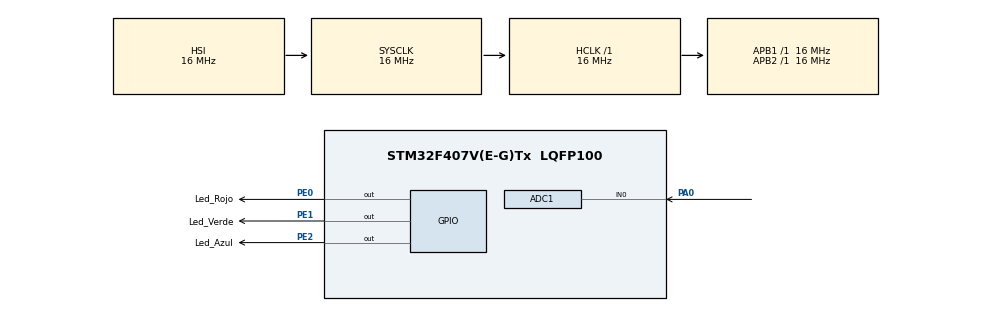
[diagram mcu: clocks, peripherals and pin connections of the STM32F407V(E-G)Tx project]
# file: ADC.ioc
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ADC1.Channel-0\#ChannelRegularConversion=ADC_CHANNEL_0
ADC1.ClockPrescaler=ADC_CLOCK_SYNC_PCLK_DIV2
ADC1.ContinuousConvMode=ENABLE
ADC1.DMAContinuousRequests=DISABLE
ADC1.DataAlign=ADC_DATAALIGN_RIGHT
ADC1.DiscontinuousConvMode=DISABLE
ADC1.EOCSelection=ADC_EOC_SINGLE_CONV
ADC1.EnableAnalogWatchDog=false
ADC1.ExternalTrigConv=ADC_SOFTWARE_START
ADC1.ExternalTrigConvEdge=ADC_EXTERNALTRIGCONVEDGE_NONE
ADC1.InjNumberOfConversion=0
ADC1.NbrOfConversion=1
ADC1.NbrOfConversionFlag=1
ADC1.Rank-0\#ChannelRegularConversion=1
ADC1.Resolution=ADC_RESOLUTION_12B
ADC1.SamplingTime-0\#ChannelRegularConversion=ADC_SAMPLETIME_3CYCLES
ADC1.ScanConvMode=DISABLE
ADC1.master=1
Mcu.Family=STM32F4
Mcu.Name=STM32F407V(E-G)Tx
Mcu.Package=LQFP100
NVIC.PriorityGroup=NVIC_PRIORITYGROUP_4
PA0-WKUP.Signal=ADCx_IN0
PE0.GPIO_Label=Led_Rojo
PE0.PinState=GPIO_PIN_SET
PE0.Signal=GPIO_Output
PE1.GPIO_Label=Led_Verde
PE1.PinState=GPIO_PIN_SET
PE1.Signal=GPIO_Output
PE2.GPIO_Label=Led_Azul
PE2.PinState=GPIO_PIN_SET
PE2.Signal=GPIO_Output
ProjectManager.HeapSize=0x200
ProjectManager.StackSize=0x400
ProjectManager.TargetToolchain=TrueSTUDIO
RCC.AHBFreq_Value=16000000
RCC.APB1Freq_Value=16000000
RCC.APB2Freq_Value=16000000
RCC.CortexFreq_Value=16000000
RCC.HSE_VALUE=25000000
RCC.HSI_VALUE=16000000
RCC.LSE_VALUE=32768
RCC.SYSCLKFreq_VALUE=16000000
RCC.VCOOutputFreq_Value=192000000
SH.ADCx_IN0.0=ADC1_IN0,IN0
board=ADC

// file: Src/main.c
/**
  ******************************************************************************
  * File Name          : main.c
  * Description        : Main program body
  ******************************************************************************
  ** This notice applies to any and all portions of this file
  * that are not between comment pairs USER CODE BEGIN and
  * USER CODE END. Other portions of this file, whether
  * inserted by the user or by software development tools
  * are owned by their respective copyright owners.
  *
  * COPYRIGHT(c) 2017 STMicroelectronics
  *
  * Redistribution and use in source and binary forms, with or without modification,
  * are permitted provided that the following conditions are met:
  *   1. Redistributions of source code must retain the above copyright notice,
  *      this list of conditions and the following disclaimer.
  *   2. Redistributions in binary form must reproduce the above copyright notice,
  *      this list of conditions and the following disclaimer in the documentation
  *      and/or other materials provided with the distribution.
  *   3. Neither the name of STMicroelectronics nor the names of its contributors
  *      may be used to endorse or promote products derived from this software
  *      without specific prior written permission.
  *
  * THIS SOFTWARE IS PROVIDED BY THE COPYRIGHT HOLDERS AND CONTRIBUTORS "AS IS"
  * AND ANY EXPRESS OR IMPLIED WARRANTIES, INCLUDING, BUT NOT LIMITED TO, THE
  * IMPLIED WARRANTIES OF MERCHANTABILITY AND FITNESS FOR A PARTICULAR PURPOSE ARE
  * DISCLAIMED. IN NO EVENT SHALL THE COPYRIGHT HOLDER OR CONTRIBUTORS BE LIABLE
  * FOR ANY DIRECT, INDIRECT, INCIDENTAL, SPECIAL, EXEMPLARY, OR CONSEQUENTIAL
  * DAMAGES (INCLUDING, BUT NOT LIMITED TO, PROCUREMENT OF SUBSTITUTE GOODS OR
  * SERVICES; LOSS OF USE, DATA, OR PROFITS; OR BUSINESS INTERRUPTION) HOWEVER
  * CAUSED AND ON ANY THEORY OF LIABILITY, WHETHER IN CONTRACT, STRICT LIABILITY,
  * OR TORT (INCLUDING NEGLIGENCE OR OTHERWISE) ARISING IN ANY WAY OUT OF THE USE
  * OF THIS SOFTWARE, EVEN IF ADVISED OF THE POSSIBILITY OF SUCH DAMAGE.
  *
  ******************************************************************************
  */
#include "main.h"
#include "stm32f4xx_hal.h"
#include "adc.h"
#include "gpio.h"

/* USER CODE BEGIN Includes */

#define Enciende GPIO_PIN_RESET
#define Apaga GPIO_PIN_SET

/* USER CODE END Includes */

/* USER CODE BEGIN PV */
/* Private variables ---------------------------------------------------------*/

/* USER CODE END PV */

void SystemClock_Config(void);

/* USER CODE BEGIN PFP */
/* Private function prototypes -----------------------------------------------*/

/* USER CODE END PFP */

int main(void)
{

  /* MCU Configuration----------------------------------------------------------*/

  /* Reset of all peripherals, Initializes the Flash interface and the Systick. */
  HAL_Init();

  /* Configure the system clock */
  SystemClock_Config();

  /* Initialize all configured peripherals */
  MX_GPIO_Init();
  MX_ADC1_Init();

  /* Infinite loop */
  while (1)
  {

  /* USER CODE BEGIN 3 */
	  //Inicia el ADC
	 HAL_ADC_Start(&hadc1);
	 ///Leemos el ADC
	 int Resultado=HAL_ADC_GetValue(&hadc1);
	 //Encender led rojo
	 if(Resultado<=1024){
		 HAL_GPIO_WritePin(GPIOE,Led_Rojo_Pin,Enciende);
		 HAL_GPIO_WritePin(GPIOE,Led_Verde_Pin,Apaga);
		 HAL_GPIO_WritePin(GPIOE,Led_Azul_Pin,Apaga);

	 }
	 //Encender led amarillo
	 else if(Resultado>1024 && Resultado<=2048){
		 HAL_GPIO_WritePin(GPIOE,Led_Rojo_Pin,Enciende);
		 HAL_GPIO_WritePin(GPIOE,Led_Verde_Pin,Enciende);
		 HAL_GPIO_WritePin(GPIOE,Led_Azul_Pin,Apaga);
	 }
	 else if(Resultado>2048 && Resultado<=3071){

		 HAL_GPIO_WritePin(GPIOE,Led_Rojo_Pin,Apaga);
		 HAL_GPIO_WritePin(GPIOE,Led_Verde_Pin,Enciende);
		 HAL_GPIO_WritePin(GPIOE,Led_Azul_Pin,Apaga);
	 }
	 else if(Resultado>3071){

		 HAL_GPIO_WritePin(GPIOE,Led_Rojo_Pin,Enciende);
		 HAL_GPIO_WritePin(GPIOE,Led_Verde_Pin,Enciende);
		 HAL_GPIO_WritePin(GPIOE,Led_Azul_Pin,Enciende);
	 }

  }
  /* USER CODE END 3 */

}

/** System Clock Configuration
*/
void SystemClock_Config(void)
{

  RCC_OscInitTypeDef RCC_OscInitStruct;
  RCC_ClkInitTypeDef RCC_ClkInitStruct;

    /**Configure the main internal regulator output voltage
    */
  __HAL_RCC_PWR_CLK_ENABLE();

  __HAL_PWR_VOLTAGESCALING_CONFIG(PWR_REGULATOR_VOLTAGE_SCALE1);

    /**Initializes the CPU, AHB and APB busses clocks
    */
  RCC_OscInitStruct.OscillatorType = RCC_OSCILLATORTYPE_HSI;
  RCC_OscInitStruct.HSIState = RCC_HSI_ON;
  RCC_OscInitStruct.HSICalibrationValue = 16;
  RCC_OscInitStruct.PLL.PLLState = RCC_PLL_NONE;
  if (HAL_RCC_OscConfig(&RCC_OscInitStruct) != HAL_OK)
  {
    _Error_Handler(__FILE__, __LINE__);
  }

    /**Initializes the CPU, AHB and APB busses clocks
    */
  RCC_ClkInitStruct.ClockType = RCC_CLOCKTYPE_HCLK|RCC_CLOCKTYPE_SYSCLK
                              |RCC_CLOCKTYPE_PCLK1|RCC_CLOCKTYPE_PCLK2;
  RCC_ClkInitStruct.SYSCLKSource = RCC_SYSCLKSOURCE_HSI;
  RCC_ClkInitStruct.AHBCLKDivider = RCC_SYSCLK_DIV1;
  RCC_ClkInitStruct.APB1CLKDivider = RCC_HCLK_DIV1;
  RCC_ClkInitStruct.APB2CLKDivider = RCC_HCLK_DIV1;

  if (HAL_RCC_ClockConfig(&RCC_ClkInitStruct, FLASH_LATENCY_0) != HAL_OK)
  {
    _Error_Handler(__FILE__, __LINE__);
  }

    /**Configure the Systick interrupt time
    */
  HAL_SYSTICK_Config(HAL_RCC_GetHCLKFreq()/1000);

    /**Configure the Systick
    */
  HAL_SYSTICK_CLKSourceConfig(SYSTICK_CLKSOURCE_HCLK);

  /* SysTick_IRQn interrupt configuration */
  HAL_NVIC_SetPriority(SysTick_IRQn, 0, 0);
}

void _Error_Handler(char * file, int line)
{
  while(1)
  {
  }
}

/************************ (C) COPYRIGHT STMicroelectronics *****END OF FILE****/
